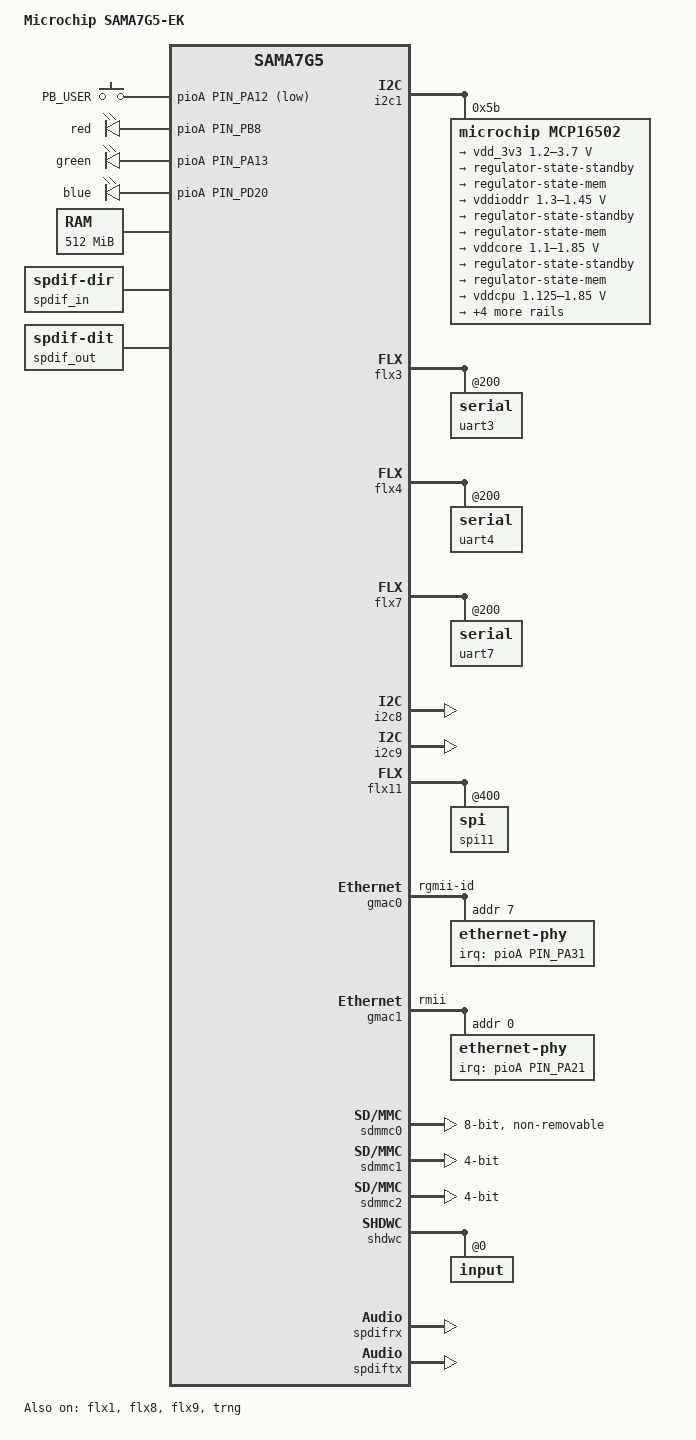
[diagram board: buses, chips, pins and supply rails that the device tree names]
// SPDX-License-Identifier: (GPL-2.0+ OR MIT)
/*
 *  at91-sama7g5ek.dts - Device Tree file for SAMA7G5-EK board
 *
 *  Copyright (c) 2020 Microchip Technology Inc. and its subsidiaries
 *
 *  Author: Eugen Hristev <eugen.hristev@microchip.com>
 *  Author: Claudiu Beznea <claudiu.beznea@microchip.com>
 *
 */
/dts-v1/;
#include "sama7g5-pinfunc.h"
#include "sama7g5.dtsi"
#include <dt-bindings/mfd/atmel-flexcom.h>
#include <dt-bindings/input/input.h>

/ {
	model = "Microchip SAMA7G5-EK";
	compatible = "microchip,sama7g5ek", "microchip,sama7g5", "microchip,sama7";

	chosen {
		bootargs = "rw root=/dev/mmcblk1p2 rootfstype=ext4 rootwait";
		stdout-path = "serial0:115200n8";
	};

	aliases {
		serial0 = &uart3;
		serial1 = &uart4;
		serial2 = &uart7;
		serial3 = &uart0;
		i2c0 = &i2c1;
		i2c1 = &i2c8;
		i2c2 = &i2c9;
	};

	clocks {
		slow_xtal {
			clock-frequency = <32768>;
		};

		main_xtal {
			clock-frequency = <24000000>;
		};
	};

	gpio_keys {
		compatible = "gpio-keys";

		pinctrl-names = "default";
		pinctrl-0 = <&pinctrl_key_gpio_default>;

		bp1 {
			label = "PB_USER";
			gpios = <&pioA PIN_PA12 GPIO_ACTIVE_LOW>;
			linux,code = <KEY_PROG1>;
			wakeup-source;
		};
	};

	leds {
		compatible = "gpio-leds";
		pinctrl-names = "default";
		pinctrl-0 = <&pinctrl_led_gpio_default>;
		status = "okay"; /* Conflict with pwm. */

		red_led {
			label = "red";
			gpios = <&pioA PIN_PB8 GPIO_ACTIVE_HIGH>;
		};

		green_led {
			label = "green";
			gpios = <&pioA PIN_PA13 GPIO_ACTIVE_HIGH>;
		};

		blue_led {
			label = "blue";
			gpios = <&pioA PIN_PD20 GPIO_ACTIVE_HIGH>;
			linux,default-trigger = "heartbeat";
		};
	};

	/* 512 M */
	memory@60000000 {
		device_type = "memory";
		reg = <0x60000000 0x20000000>;
	};

	sound: sound {
		compatible = "simple-audio-card";
		simple-audio-card,name = "sama7g5ek audio";
		#address-cells = <1>;
		#size-cells = <0>;
		simple-audio-card,dai-link@0 {
			reg = <0>;
			cpu {
				sound-dai = <&spdiftx>;
			};
			codec {
				sound-dai = <&spdif_out>;
			};
		};
		simple-audio-card,dai-link@1 {
			reg = <1>;
			cpu {
				sound-dai = <&spdifrx>;
			};
			codec {
				sound-dai = <&spdif_in>;
			};
		};
	};

	spdif_in: spdif-in {
		#sound-dai-cells = <0>;
		compatible = "linux,spdif-dir";
	};

	spdif_out: spdif-out {
		#sound-dai-cells = <0>;
		compatible = "linux,spdif-dit";
	};
};

&cpu0 {
	cpu-supply = <&vddcpu>;
};

&dma0 {
	status = "okay";
};

&dma1 {
	status = "okay";
};

&dma2 {
	status = "okay";
};

&flx0 {
	atmel,flexcom-mode = <ATMEL_FLEXCOM_MODE_USART>;
	status = "disabled";

	uart0: serial@200 {
		pinctrl-names = "default";
		pinctrl-0 = <&pinctrl_flx0_default>;
		status = "disabled";
	};
};

&flx1 {
	atmel,flexcom-mode = <ATMEL_FLEXCOM_MODE_TWI>;
	status = "okay";

	i2c1: i2c@600 {
		pinctrl-names = "default";
		pinctrl-0 = <&pinctrl_i2c1_default>;
		i2c-analog-filter;
		i2c-digital-filter;
		i2c-digital-filter-width-ns = <35>;
		status = "okay";

		mcp16502@5b {
			compatible = "microchip,mcp16502";
			reg = <0x5b>;
			status = "okay";

			regulators {
				vdd_3v3: VDD_IO {
					regulator-name = "VDD_IO";
					regulator-min-microvolt = <1200000>;
					regulator-max-microvolt = <3700000>;
					regulator-initial-mode = <2>;
					regulator-allowed-modes = <2>, <4>;
					regulator-always-on;

					regulator-state-standby {
						regulator-on-in-suspend;
						regulator-mode = <4>;
					};

					regulator-state-mem {
						regulator-off-in-suspend;
						regulator-mode = <4>;
					};
				};

				vddioddr: VDD_DDR {
					regulator-name = "VDD_DDR";
					regulator-min-microvolt = <1300000>;
					regulator-max-microvolt = <1450000>;
					regulator-initial-mode = <2>;
					regulator-allowed-modes = <2>, <4>;
					regulator-always-on;

					regulator-state-standby {
						regulator-on-in-suspend;
						regulator-suspend-microvolt = <1350000>;
						regulator-mode = <4>;
					};

					regulator-state-mem {
						regulator-on-in-suspend;
						regulator-suspend-microvolt = <1350000>;
						regulator-mode = <4>;
					};
				};

				vddcore: VDD_CORE {
					regulator-name = "VDD_CORE";
					regulator-min-microvolt = <1100000>;
					regulator-max-microvolt = <1850000>;
					regulator-initial-mode = <2>;
					regulator-allowed-modes = <2>, <4>;
					regulator-always-on;

					regulator-state-standby {
						regulator-on-in-suspend;
						regulator-mode = <4>;
					};

					regulator-state-mem {
						regulator-off-in-suspend;
						regulator-mode = <4>;
					};
				};

				vddcpu: VDD_OTHER {
					regulator-name = "VDD_OTHER";
					regulator-min-microvolt = <1125000>;
					regulator-max-microvolt = <1850000>;
					regulator-initial-mode = <2>;
					regulator-allowed-modes = <2>, <4>;
					regulator-ramp-delay = <3125>;
					regulator-always-on;

					regulator-state-standby {
						regulator-on-in-suspend;
						regulator-mode = <4>;
					};

					regulator-state-mem {
						regulator-off-in-suspend;
						regulator-mode = <4>;
					};
				};

				vldo1: LDO1 {
					regulator-name = "LDO1";
					regulator-min-microvolt = <1200000>;
					regulator-max-microvolt = <3700000>;
					regulator-always-on;

					regulator-state-standby {
						regulator-on-in-suspend;
					};

					regulator-state-mem {
						regulator-off-in-suspend;
					};
				};

				vldo2: LDO2 {
					regulator-name = "LDO2";
					regulator-min-microvolt = <1200000>;
					regulator-max-microvolt = <3700000>;

					regulator-state-standby {
						regulator-on-in-suspend;
					};

					regulator-state-mem {
						regulator-off-in-suspend;
					};
				};
			};
		};
	};
};

&flx3 {
	atmel,flexcom-mode = <ATMEL_FLEXCOM_MODE_USART>;
	status = "okay";

	uart3: serial@200 {
		pinctrl-names = "default";
		pinctrl-0 = <&pinctrl_flx3_default>;
		status = "okay";
	};
};

&flx4 {
	atmel,flexcom-mode = <ATMEL_FLEXCOM_MODE_USART>;
	status = "okay";

	uart4: serial@200 {
		pinctrl-names = "default";
		pinctrl-0 = <&pinctrl_flx4_default>;
		status = "okay";
	};
};

&flx7 {
	atmel,flexcom-mode = <ATMEL_FLEXCOM_MODE_USART>;
	status = "okay";

	uart7: serial@200 {
		pinctrl-names = "default";
		pinctrl-0 = <&pinctrl_flx7_default>;
		status = "okay";
	};
};

&flx8 {
	atmel,flexcom-mode = <ATMEL_FLEXCOM_MODE_TWI>;
	status = "okay";

	i2c8: i2c@600 {
		pinctrl-names = "default";
		pinctrl-0 = <&pinctrl_i2c8_default>;
		i2c-analog-filter;
		i2c-digital-filter;
		i2c-digital-filter-width-ns = <35>;
		status = "okay";
	};
};

&flx9 {
	atmel,flexcom-mode = <ATMEL_FLEXCOM_MODE_TWI>;
	status = "okay";

	i2c9: i2c@600 {
		pinctrl-names = "default";
		pinctrl-0 = <&pinctrl_i2c9_default>;
		i2c-analog-filter;
		i2c-digital-filter;
		i2c-digital-filter-width-ns = <35>;
		status = "okay";
	};
};

&flx11 {
	atmel,flexcom-mode = <ATMEL_FLEXCOM_MODE_SPI>;
	status = "okay";

	spi11: spi@400 {
		pinctrl-names = "default";
		pinctrl-0 = <&pinctrl_mikrobus1_spi &pinctrl_mikrobus1_spi_cs>;
		status = "okay";
	};
};

&gmac0 {
	#address-cells = <1>;
	#size-cells = <0>;
	pinctrl-names = "default";
	pinctrl-0 = <&pinctrl_gmac0_default
		     &pinctrl_gmac0_mdio_default
		     &pinctrl_gmac0_txck_default
		     &pinctrl_gmac0_phy_irq>;
	phy-mode = "rgmii-id";
	status = "okay";

	ethernet-phy@7 {
		reg = <0x7>;
		interrupt-parent = <&pioA>;
		interrupts = <PIN_PA31 IRQ_TYPE_LEVEL_LOW>;
	};
};

&gmac1 {
	#address-cells = <1>;
	#size-cells = <0>;
	pinctrl-names = "default";
	pinctrl-0 = <&pinctrl_gmac1_default
		     &pinctrl_gmac1_mdio_default
		     &pinctrl_gmac1_phy_irq>;
	phy-mode = "rmii";
	status = "okay";

	ethernet-phy@0 {
		reg = <0x0>;
		interrupt-parent = <&pioA>;
		interrupts = <PIN_PA21 IRQ_TYPE_LEVEL_LOW>;
	};
};

&i2s0 {
	pinctrl-names = "default";
	pinctrl-0 = <&pinctrl_i2s0_default>;
};

&pioA {
	pinctrl_flx0_default: flx0_default {
		pinmux = <PIN_PE3__FLEXCOM0_IO0>,
			 <PIN_PE4__FLEXCOM0_IO1>,
			 <PIN_PE6__FLEXCOM0_IO3>,
			 <PIN_PE7__FLEXCOM0_IO4>;
		bias-disable;
	};

	pinctrl_flx3_default: flx3_default {
		pinmux = <PIN_PD16__FLEXCOM3_IO0>,
			 <PIN_PD17__FLEXCOM3_IO1>;
		bias-pull-up;
	};

	pinctrl_flx4_default: flx4_default {
		pinmux = <PIN_PD18__FLEXCOM4_IO0>,
			 <PIN_PD19__FLEXCOM4_IO1>;
		bias-disable;
	};

	pinctrl_flx7_default: flx7_default {
		pinmux = <PIN_PC23__FLEXCOM7_IO0>,
			 <PIN_PC24__FLEXCOM7_IO1>;
		bias-disable;
	};

	pinctrl_gmac0_default: gmac0_default {
		pinmux = <PIN_PA16__G0_TX0>,
			 <PIN_PA17__G0_TX1>,
			 <PIN_PA26__G0_TX2>,
			 <PIN_PA27__G0_TX3>,
			 <PIN_PA19__G0_RX0>,
			 <PIN_PA20__G0_RX1>,
			 <PIN_PA28__G0_RX2>,
			 <PIN_PA29__G0_RX3>,
			 <PIN_PA15__G0_TXEN>,
			 <PIN_PA30__G0_RXCK>,
			 <PIN_PA18__G0_RXDV>,
			 <PIN_PA25__G0_125CK>;
		slew-rate = <0>;
		bias-disable;
	};

	pinctrl_gmac0_mdio_default: gmac0_mdio_default {
		pinmux = <PIN_PA22__G0_MDC>,
			 <PIN_PA23__G0_MDIO>;
		bias-disable;
	};

	pinctrl_gmac0_txck_default: gmac0_txck_default {
		pinmux = <PIN_PA24__G0_TXCK>;
		slew-rate = <0>;
		bias-pull-up;
	};

	pinctrl_gmac0_phy_irq: gmac0_phy_irq {
		pinmux = <PIN_PA31__GPIO>;
		bias-disable;
	};

	pinctrl_gmac1_default: gmac1_default {
		pinmux = <PIN_PD30__G1_TXCK>,
			 <PIN_PD22__G1_TX0>,
			 <PIN_PD23__G1_TX1>,
			 <PIN_PD21__G1_TXEN>,
			 <PIN_PD25__G1_RX0>,
			 <PIN_PD26__G1_RX1>,
			 <PIN_PD27__G1_RXER>,
			 <PIN_PD24__G1_RXDV>;
		slew-rate = <0>;
		bias-disable;
	};

	pinctrl_gmac1_mdio_default: gmac1_mdio_default {
		pinmux = <PIN_PD28__G1_MDC>,
			 <PIN_PD29__G1_MDIO>;
		bias-disable;
	};

	pinctrl_gmac1_phy_irq: gmac1_phy_irq {
		pinmux = <PIN_PA21__GPIO>;
		bias-disable;
	};

	pinctrl_i2c1_default: i2c1_default {
		pinmux = <PIN_PC9__FLEXCOM1_IO0>,
			 <PIN_PC10__FLEXCOM1_IO1>;
		bias-disable;
	};

	pinctrl_i2c8_default: i2c8_default {
		pinmux = <PIN_PC14__FLEXCOM8_IO0>,
			 <PIN_PC13__FLEXCOM8_IO1>;
		bias-disable;
	};

	pinctrl_i2c9_default: i2c9_default {
		pinmux = <PIN_PC18__FLEXCOM9_IO0>,
			 <PIN_PC19__FLEXCOM9_IO1>;
		bias-disable;
	};

	pinctrl_i2s0_default: i2s0_default {
		pinmux = <PIN_PB23__I2SMCC0_CK>,
			 <PIN_PB24__I2SMCC0_WS>,
			 <PIN_PB25__I2SMCC0_DOUT1>,
			 <PIN_PB26__I2SMCC0_DOUT0>,
			 <PIN_PB27__I2SMCC0_MCK>;
		bias-disable;
	};

	pinctrl_key_gpio_default: key_gpio_default {
		pinmux = <PIN_PA12__GPIO>;
		bias-pull-up;
	};

	pinctrl_led_gpio_default: led_gpio_default {
		pinmux = <PIN_PA13__GPIO>,
			 <PIN_PB8__GPIO>,
			 <PIN_PD20__GPIO>;
		bias-pull-up;
	};

	pinctrl_mikrobus1_an_default: mikrobus1_an_default {
		pinmux = <PIN_PD0__GPIO>;
		bias-disable;
	};

	pinctrl_mikrobus2_an_default: mikrobus2_an_default {
		pinmux = <PIN_PD1__GPIO>;
		bias-disable;
	};

	pinctrl_mikrobus1_pwm2_default: mikrobus1_pwm2_default {
		pinmux = <PIN_PA13__PWMH2>;
		bias-disable;
	};

	pinctrl_mikrobus2_pwm3_default: mikrobus2_pwm3_default {
		pinmux = <PIN_PD20__PWMH3>;
		bias-disable;
	};

	pinctrl_mikrobus1_spi_cs: mikrobus1_spi_cs {
		pinmux = <PIN_PB6__FLEXCOM11_IO3>;
		bias-disable;
	};

	pinctrl_mikrobus1_spi: mikrobus1_spi {
		pinmux = <PIN_PB3__FLEXCOM11_IO0>,
			 <PIN_PB4__FLEXCOM11_IO1>,
			 <PIN_PB5__FLEXCOM11_IO2>;
		bias-disable;
	};

	pinctrl_sdmmc0_default: sdmmc0_default {
		cmd_data {
			pinmux = <PIN_PA1__SDMMC0_CMD>,
				 <PIN_PA3__SDMMC0_DAT0>,
				 <PIN_PA4__SDMMC0_DAT1>,
				 <PIN_PA5__SDMMC0_DAT2>,
				 <PIN_PA6__SDMMC0_DAT3>,
				 <PIN_PA7__SDMMC0_DAT4>,
				 <PIN_PA8__SDMMC0_DAT5>,
				 <PIN_PA9__SDMMC0_DAT6>,
				 <PIN_PA10__SDMMC0_DAT7>;
			slew-rate = <0>;
			bias-pull-up;
		};

		ck_cd_rstn_vddsel {
			pinmux = <PIN_PA0__SDMMC0_CK>,
				 <PIN_PA2__SDMMC0_RSTN>,
				 <PIN_PA11__SDMMC0_DS>;
			slew-rate = <0>;
			bias-pull-up;
		};
	};

	pinctrl_sdmmc1_default: sdmmc1_default {
		cmd_data {
			pinmux = <PIN_PB29__SDMMC1_CMD>,
				 <PIN_PB31__SDMMC1_DAT0>,
				 <PIN_PC0__SDMMC1_DAT1>,
				 <PIN_PC1__SDMMC1_DAT2>,
				 <PIN_PC2__SDMMC1_DAT3>;
			slew-rate = <0>;
			bias-pull-up;
		};

		ck_cd_rstn_vddsel {
			pinmux = <PIN_PB30__SDMMC1_CK>,
				 <PIN_PB28__SDMMC1_RSTN>,
				 <PIN_PC5__SDMMC1_1V8SEL>,
				 <PIN_PC4__SDMMC1_CD>;
			slew-rate = <0>;
			bias-pull-up;
		};
	};

	pinctrl_sdmmc2_default: sdmmc2_default {
		cmd_data {
			pinmux = <PIN_PD3__SDMMC2_CMD>,
				 <PIN_PD5__SDMMC2_DAT0>,
				 <PIN_PD6__SDMMC2_DAT1>,
				 <PIN_PD7__SDMMC2_DAT2>,
				 <PIN_PD8__SDMMC2_DAT3>;
			slew-rate = <0>;
			bias-pull-up;
		};

		ck {
			pinmux = <PIN_PD4__SDMMC2_CK>;
			slew-rate = <0>;
			bias-pull-up;
		};
	};

	pinctrl_spdifrx_default: spdifrx_default {
		pinmux = <PIN_PB0__SPDIF_RX>;
		bias-disable;
	};

	pinctrl_spdiftx_default: spdiftx_default {
		pinmux = <PIN_PB1__SPDIF_TX>;
		bias-disable;
	};
};

&pwm {
	pinctrl-names = "default";
	pinctrl-0 = <&pinctrl_mikrobus1_pwm2_default &pinctrl_mikrobus2_pwm3_default>;
	status = "disabled"; /* Conflict with leds. */
};

&rtt {
	atmel,rtt-rtc-time-reg = <&gpbr 0x0>;
};

&sdmmc0 {
	bus-width = <8>;
	non-removable;
	no-1-8-v;
	sdhci-caps-mask = <0x0 0x00200000>;
	pinctrl-names = "default";
	pinctrl-0 = <&pinctrl_sdmmc0_default>;
	status = "okay";
};

&sdmmc1 {
	bus-width = <4>;
	no-1-8-v;
	sdhci-caps-mask = <0x0 0x00200000>;
	pinctrl-names = "default";
	pinctrl-0 = <&pinctrl_sdmmc1_default>;
	status = "okay";
};

&sdmmc2 {
	bus-width = <4>;
	no-1-8-v;
	sdhci-caps-mask = <0x0 0x00200000>;
	pinctrl-names = "default";
	pinctrl-0 = <&pinctrl_sdmmc2_default>;
};

&shdwc {
	atmel,shdwc-debouncer = <976>;
	status = "okay";

	input@0 {
		reg = <0>;
	};
};

&spdifrx {
	pinctrl-names = "default";
	pinctrl-0 = <&pinctrl_spdifrx_default>;
	status = "okay";
};

&spdiftx {
	pinctrl-names = "default";
	pinctrl-0 = <&pinctrl_spdiftx_default>;
	status = "okay";
};

&trng {
	status = "okay";
};

&vddout25 {
	vin-supply = <&vdd_3v3>;
	status = "okay";
};
